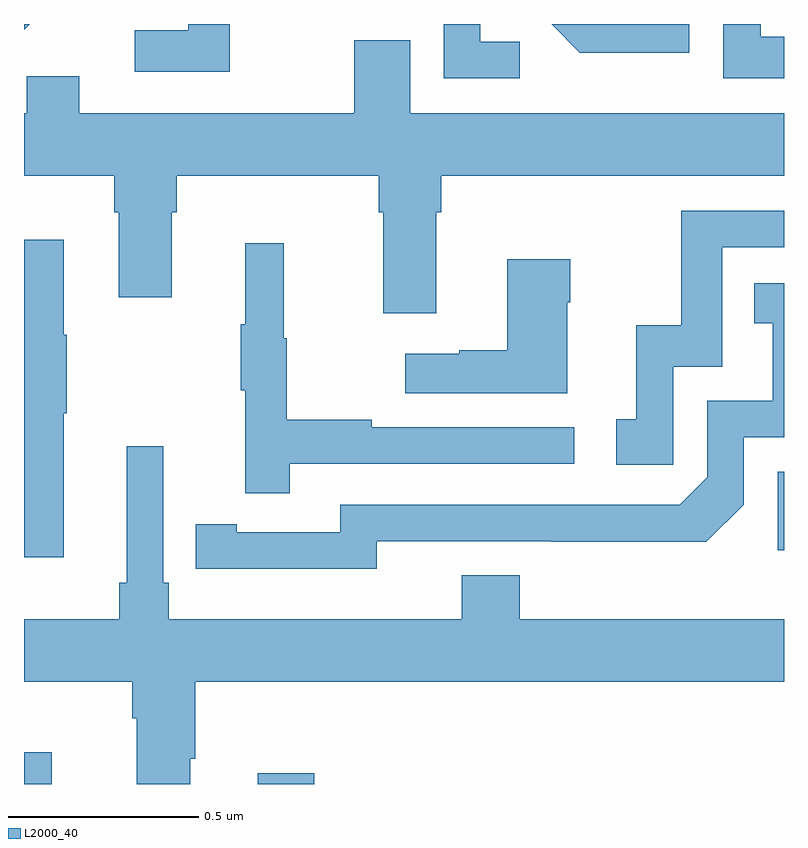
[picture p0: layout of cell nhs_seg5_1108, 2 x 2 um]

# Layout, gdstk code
import gdstk
lib = gdstk.Library(unit=1e-6, precision=1e-09)
def R(c, l, rs):  # rectangles x0, y0, x1, y1
    for r in rs: c.add(gdstk.rectangle(r[:2], r[2:], *l))
def P(c, l, *ps):  # polygons
    for p in ps: c.add(gdstk.Polygon(p, *l))
L2000_40 = (2000, 40)

nhs_seg5_1108 = lib.new_cell('nhs_seg5_1108')
R(nhs_seg5_1108, L2000_40, [(125,881.799,125.073,881.882), (125.615,881.799,125.764,881.827), (126.984,882.414,127,882.621)])
P(nhs_seg5_1108, L2000_40, [(127,883.765),(126.939,883.765),(126.939,883.799),(126.84,883.799),(126.84,883.656),(127,883.656)],
  [(125.015,883.799),(125,883.799),(125,883.784)],
  [(126.751,883.799),(126.389,883.799),(126.463,883.724),(126.751,883.724)],
  [(125.542,883.799),(125.432,883.799),(125.432,883.783),(125.292,883.783),(125.292,883.674),(125.542,883.674)],
  [(126.304,883.752),(126.201,883.752),(126.201,883.799),(126.105,883.799),(126.105,883.656),(126.304,883.656)],
  [(126.085,883.304),(126.098,883.304),(126.098,883.4),(127,883.4),(127,883.564),(126.016,883.564),(126.016,883.756),(125.869,883.756),(125.869,883.564),(125.146,883.564),(125.146,883.662),(125.007,883.662),(125.007,883.564),(125,883.564),(125,883.4),(125.237,883.4),(125.237,883.304),(125.249,883.304),(125.249,883.08),(125.389,883.08),(125.389,883.304),(125.402,883.304),(125.402,883.4),(125.933,883.4),(125.933,883.304),(125.945,883.304),(125.945,883.038),(126.085,883.038)],
  [(126.708,882.897),(126.837,882.897),(126.837,883.212),(127,883.212),(127,883.308),(126.729,883.308),(126.729,883.006),(126.611,883.006),(126.611,882.759),(126.558,882.759),(126.558,882.639),(126.708,882.639)],
  [(125.104,882.775),(125.112,882.775),(125.112,882.981),(125.104,882.981),(125.104,883.231),(125,883.231),(125,882.396),(125.104,882.396)],
  [(125.699,882.642),(126.448,882.642),(126.448,882.738),(125.915,882.738),(125.915,882.758),(125.692,882.758),(125.692,882.972),(125.684,882.972),(125.684,883.222),(125.582,883.222),(125.582,883.009),(125.571,883.009),(125.571,882.835),(125.582,882.835),(125.582,882.564),(125.699,882.564)],
  [(126.43,883.067),(126.438,883.067),(126.438,883.18),(126.272,883.18),(126.272,882.941),(126.146,882.941),(126.146,882.931),(126.003,882.931),(126.003,882.827),(126.43,882.827)],
  [(125.928,882.438),(126.388,882.438),(126.388,882.437),(126.796,882.437),(126.894,882.534),(126.894,882.711),(127,882.711),(127,883.117),(126.922,883.117),(126.922,883.011),(126.971,883.011),(126.971,882.807),(126.798,882.807),(126.798,882.606),(126.726,882.534),(125.832,882.534),(125.832,882.462),(125.56,882.462),(125.56,882.482),(125.452,882.482),(125.452,882.366),(125.56,882.366),(125.56,882.365),(125.928,882.365)],
  [(125.437,881.866),(125.45,881.866),(125.45,882.068),(127,882.068),(127,882.232),(126.305,882.232),(126.305,882.349),(126.152,882.349),(126.152,882.232),(125.381,882.232),(125.381,882.328),(125.367,882.328),(125.367,882.688),(125.27,882.688),(125.27,882.328),(125.251,882.328),(125.251,882.232),(125,882.232),(125,882.068),(125.285,882.068),(125.285,881.972),(125.297,881.972),(125.297,881.799),(125.437,881.799)])

lib.write_gds('nhs_seg5_1108.gds')
